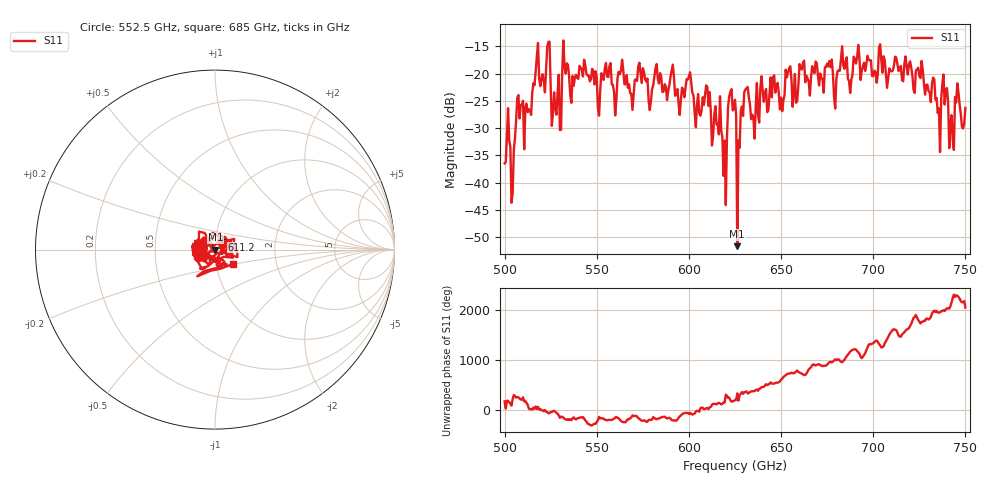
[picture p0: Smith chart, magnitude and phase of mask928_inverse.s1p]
!Created with skrf (http://scikit-rf.org).
# GHz S MA R 50.0
!freq magS11 angS11
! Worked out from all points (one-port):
!   401 points, 500 GHz to 750 GHz, reference 50 ohm
!   lowest |S11| = -51.7 dB at 626.2 GHz (marker M1), VSWR 1.01, Z = 50.2 - j0.113 ohm
!   |S11| at or under -10 dB: start of sweep to end of sweep
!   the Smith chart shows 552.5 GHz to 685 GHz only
!   S11 on the Smith chart (normalised r, x): 552.5 GHz: 0.83, -0.07; 611.2 GHz: 1.07, +0.12; 685 GHz: 1.21, -0.20
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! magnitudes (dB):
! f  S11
! 500 GHz  -36.5
! 504.4 GHz  -41.9
! 507.5 GHz  -23.9
! 511.9 GHz  -25.5
! 516.9 GHz  -19.4
! 523.8 GHz  -14.2
! 526.9 GHz  -23.4
! 531.2 GHz  -19.5
! 533.1 GHz  -20.0
! 552.5 GHz  -19.9
! 562.5 GHz  -20.1
! 593.8 GHz  -22.8
! 611.2 GHz  -23.4
! 619.4 GHz  -32.3
! 622.5 GHz  -23.3
! 625 GHz  -24.8
! 626.2 GHz  -51.7
! 631.2 GHz  -22.7
! 635 GHz  -28.2
! 656.2 GHz  -26.1
! 685 GHz  -17.8
! 687.5 GHz  -23.5
! 718.8 GHz  -20.2
! 735 GHz  -27.2
! 738.8 GHz  -25.7
! 742.5 GHz  -27.6
! 745.6 GHz  -21.8
! 750 GHz  -26.3
